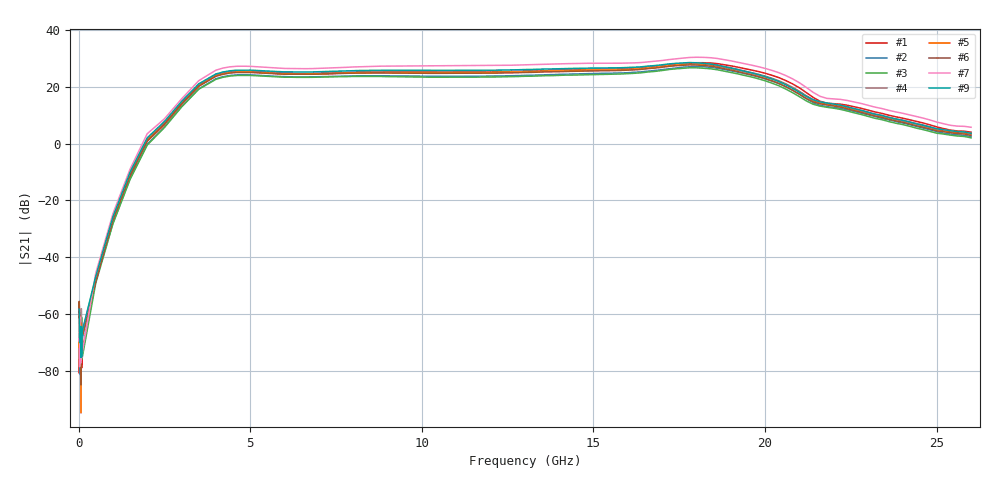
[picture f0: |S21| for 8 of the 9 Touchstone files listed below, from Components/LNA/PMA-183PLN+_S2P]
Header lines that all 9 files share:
!Keysight Technologies,N5244A,MY52442000,A.10.40.14
!Correction: S11(Full 2 Port(1,2))
!S21(Full 2 Port(1,2))
!S12(Full 2 Port(1,2))
!S22(Full 2 Port(1,2))
!S2P File: Measurements: S11, S21, S12, S22:
# Hz S  dB  R 50
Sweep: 10 MHz to 26 GHz
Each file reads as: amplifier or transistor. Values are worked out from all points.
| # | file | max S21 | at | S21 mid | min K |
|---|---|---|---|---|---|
| 1 | PMA-183PLN+_2.3V_Minus45DegC_TB1.s2p | 28.4 dB | 18 GHz | 25.3 dB at 13.4 GHz | 8.36 |
| 2 | PMA-183PLN+_2.3V_Plus25DegC_TB1.s2p | 27.1 dB | 18 GHz | 24.1 dB at 13.4 GHz | 13.07 |
| 3 | PMA-183PLN+_2.3V_Plus85DegC_TB1.s2p | 26.6 dB | 17.8 GHz | 23.8 dB at 13.4 GHz | 13.16 |
| 4 | PMA-183PLN+_2.6V_Minus45DegC_TB1.s2p | 28.3 dB | 17.8 GHz | 25.7 dB at 13.4 GHz | 11.02 |
| 5 | PMA-183PLN+_2.6V_Plus25DegC_TB1.s2p | 28.0 dB | 18 GHz | 25.4 dB at 13.4 GHz | 12.93 |
| 6 | PMA-183PLN+_2.6V_Plus85DegC_TB1.s2p | 27.6 dB | 17.8 GHz | 25.1 dB at 13.4 GHz | 13.54 |
| 7 | PMA-183PLN+_2.9V_Minus45DegC_TB1.s2p | 30.3 dB | 18 GHz | 27.8 dB at 13.4 GHz | 10.42 |
| 8 | PMA-183PLN+_2.9V_Plus25DegC_TB1.s2p | 28.8 dB | 17.8 GHz | 26.4 dB at 13.4 GHz | 15.25 |
| 9 | PMA-183PLN+_2.9V_Plus85DegC_TB1.s2p | 28.5 dB | 17.8 GHz | 26.1 dB at 13.4 GHz | 13.38 |
